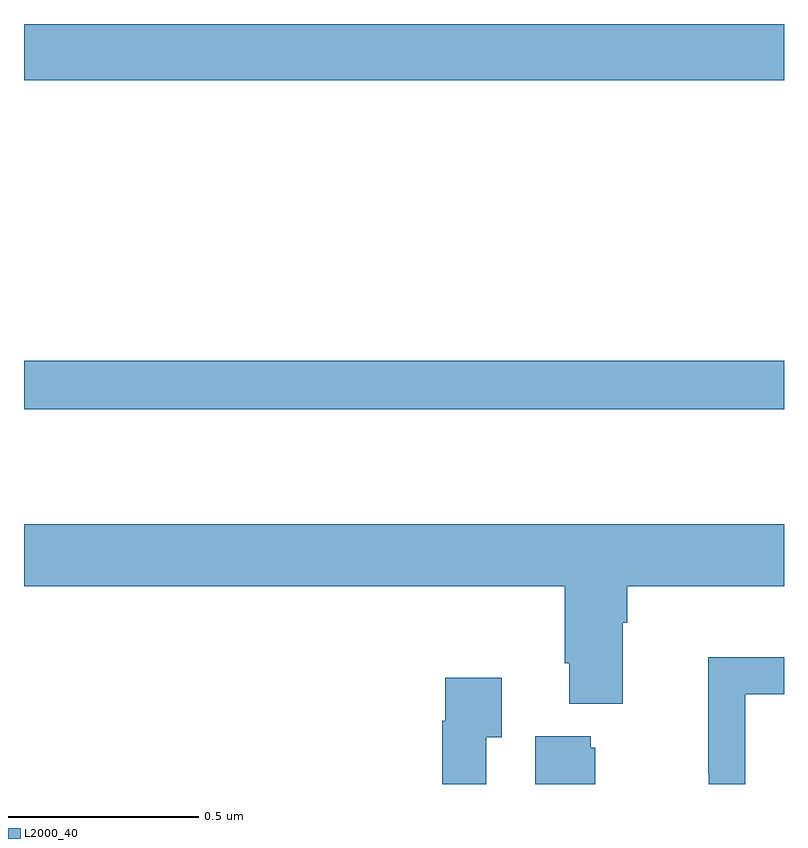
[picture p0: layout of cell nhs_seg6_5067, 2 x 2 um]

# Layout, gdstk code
import gdstk
lib = gdstk.Library(unit=1e-6, precision=1e-09)
def R(c, l, rs):  # rectangles x0, y0, x1, y1
    for r in rs: c.add(gdstk.rectangle(r[:2], r[2:], *l))
def P(c, l, *ps):  # polygons
    for p in ps: c.add(gdstk.Polygon(p, *l))
L2000_40 = (2000, 40)

nhs_seg6_5067 = lib.new_cell('nhs_seg6_5067')
R(nhs_seg6_5067, L2000_40, [(178,930.486,180,930.614), (178,931.352,180,931.5)])
P(nhs_seg6_5067, L2000_40, [(179.575,929.924),(179.588,929.924),(179.588,930.02),(180,930.02),(180,930.184),(178,930.184),(178,930.02),(179.423,930.02),(179.423,929.818),(179.435,929.818),(179.435,929.711),(179.575,929.711)],
  [(179.898,929.736),(180,929.736),(180,929.834),(179.8,929.834),(179.8,929.527),(179.802,929.527),(179.802,929.5),(179.898,929.5)],
  [(179.217,929.623),(179.257,929.623),(179.257,929.779),(179.109,929.779),(179.109,929.666),(179.101,929.666),(179.101,929.5),(179.217,929.5)],
  [(179.503,929.595),(179.492,929.595),(179.492,929.626),(179.345,929.626),(179.345,929.5),(179.503,929.5)])

lib.write_gds('nhs_seg6_5067.gds')
